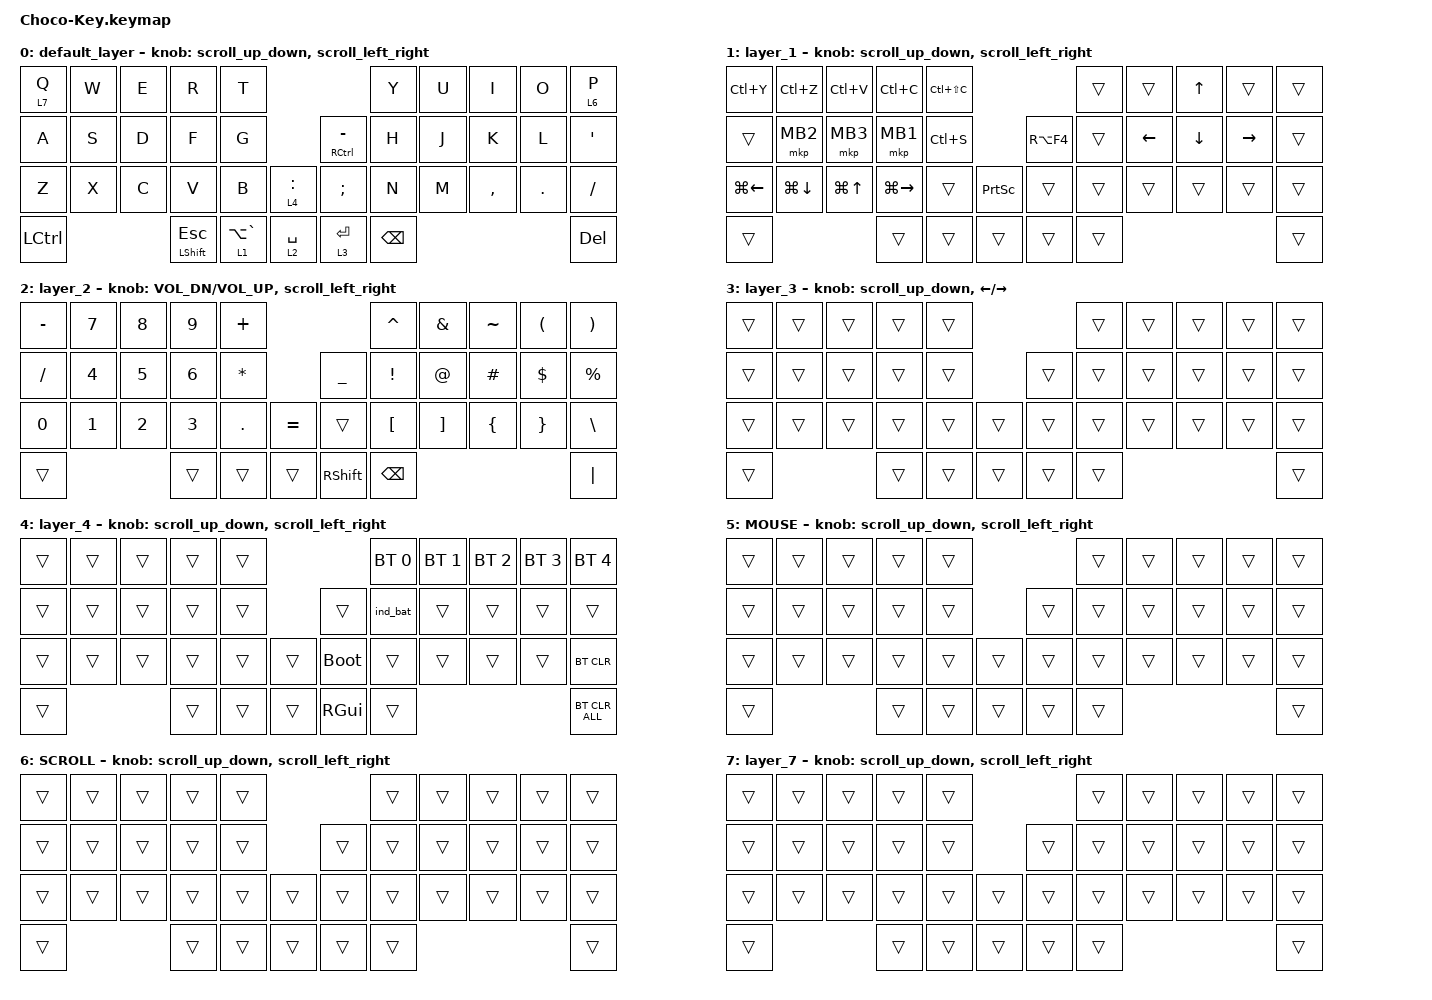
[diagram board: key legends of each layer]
#include <behaviors.dtsi>
#include <dt-bindings/zmk/bt.h>
#include <dt-bindings/zmk/keys.h>
#include <dt-bindings/zmk/pointing.h>
#include <behaviors/rgbled_widget.dtsi>

#define ZMK_POINTING_DEFAULT_SCRL_VAL 100
#define MOUSE 5
#define SCROLL 6

&mt {
    flavor = "balanced";
    quick-tap-ms = <0>;
};

&trackball {
    gesture_7 {
        layers = <7>;
        bindings =
            <&kp LG(RIGHT_ARROW)>,
            <&kp LG(LEFT_ARROW)>,
            <&kp LG(UP_ARROW)>,
            <&kp LG(DOWN_ARROW)>;
        tick = <10>;
        wait-ms = <5>;
        tap-ms = <5>;
    };
};


/ {
    combos { compatible = "zmk,combos"; };

    macros {
        to_layer_0: to_layer_0 {
            compatible = "zmk,behavior-macro-one-param";
            #binding-cells = <1>;
            bindings = <&to 0 &macro_param_1to1 &kp MACRO_PLACEHOLDER>;
            label = "TO_LAYER_0";
        };
    };

    behaviors {
        lt_to_layer_0: lt_to_layer_0 {
            compatible = "zmk,behavior-hold-tap";
            label = "LAYER_TAP_TO_0";
            bindings = <&mo>, <&to_layer_0>;

            #binding-cells = <2>;
            tapping-term-ms = <200>;
        };

        scroll_up_down: behavior_sensor_rotate_mouse_wheel_up_down {
            compatible = "zmk,behavior-sensor-rotate";
            #sensor-binding-cells = <0>;
            bindings = <&msc SCRL_UP>, <&msc SCRL_DOWN>;

            tap-ms = <20>;
        };

        scroll_left_right: behavior_sensor_rotate_mouse_wheel_left_right {
            compatible = "zmk,behavior-sensor-rotate";
            #sensor-binding-cells = <0>;
            bindings = <&msc SCRL_RIGHT>, <&msc SCRL_LEFT>;

            tap-ms = <20>;
        };  
    };

    keymap {
        compatible = "zmk,keymap";

        default_layer {
            bindings = <
&lt 7 Q    &kp W  &kp E  &kp R                  &kp T                                            &kp Y          &kp U  &kp I      &kp O    &lt 6 P
&kp A      &kp S  &kp D  &kp F                  &kp G                           &mt RCTRL MINUS  &kp H          &kp J  &kp K      &kp L    &kp SQT
&kp Z      &kp X  &kp C  &kp V                  &kp B            &lt 4 COLON    &kp SEMICOLON    &kp N          &kp M  &kp COMMA  &kp DOT  &kp SLASH
&kp LCTRL                &mt LEFT_SHIFT ESCAPE  &lt 1 LA(GRAVE)  &lt 2 SPACE    &lt 3 ENTER      &kp BACKSPACE                             &kp DEL
            >;

                sensor-bindings = <&scroll_up_down>, <&scroll_left_right>;
        };

        layer_1 {
            bindings = <
&kp LC(Y)           &kp LC(Z)           &kp LC(V)         &kp LC(C)            &kp LC(LS(C))                                 &trans  &trans          &kp UP_ARROW    &trans           &trans
&trans              &mkp MB2            &mkp MB3          &mkp MB1             &kp LC(S)                         &kp RA(F4)  &trans  &kp LEFT_ARROW  &kp DOWN_ARROW  &kp RIGHT_ARROW  &trans
&kp LG(LEFT_ARROW)  &kp LG(DOWN_ARROW)  &kp LG(UP_ARROW)  &kp LG(RIGHT_ARROW)  &trans         &kp PRINTSCREEN    &trans      &trans  &trans          &trans          &trans           &trans
&trans                                                    &trans               &trans         &trans             &trans      &trans                                                   &trans
            >;

            sensor-bindings = <&scroll_up_down>, <&scroll_left_right>;
        };

        layer_2 {
            bindings = <
&kp MINUS     &kp NUMBER_7  &kp NUMBER_8  &kp NUMBER_9  &kp PLUS                                    &kp CARET         &kp AMPERSAND      &kp TILDE       &kp LEFT_PARENTHESIS  &kp RIGHT_PARENTHESIS
&kp SLASH     &kp NUMBER_4  &kp NUMBER_5  &kp NUMBER_6  &kp ASTERISK               &kp UNDERSCORE   &kp EXCLAMATION   &kp AT_SIGN        &kp HASH        &kp DOLLAR            &kp PERCENT
&kp NUMBER_0  &kp NUMBER_1  &kp NUMBER_2  &kp NUMBER_3  &kp PERIOD    &kp EQUAL    &trans           &kp LEFT_BRACKET  &kp RIGHT_BRACKET  &kp LEFT_BRACE  &kp RIGHT_BRACE       &kp BACKSLASH
&trans                                    &trans        &trans        &trans       &kp RIGHT_SHIFT  &kp BACKSPACE                                                              &kp PIPE
            >;

            sensor-bindings = <&inc_dec_kp C_VOL_DN C_VOL_UP>, <&scroll_left_right>;
        };

        layer_3 {
            bindings = <
&trans  &trans  &trans  &trans  &trans                     &trans  &trans  &trans  &trans  &trans
&trans  &trans  &trans  &trans  &trans             &trans  &trans  &trans  &trans  &trans  &trans
&trans  &trans  &trans  &trans  &trans   &trans    &trans  &trans  &trans  &trans  &trans  &trans
&trans                  &trans  &trans   &trans    &trans  &trans                          &trans
            >;

            sensor-bindings = <&scroll_up_down>, <&inc_dec_kp LEFT RIGHT>;
        };

        layer_4 {
            bindings = <
&trans  &trans  &trans  &trans  &trans                           &bt BT_SEL 0  &bt BT_SEL 1  &bt BT_SEL 2  &bt BT_SEL 3  &bt BT_SEL 4
&trans  &trans  &trans  &trans  &trans            &trans         &ind_bat      &trans        &trans        &trans        &trans
&trans  &trans  &trans  &trans  &trans  &trans    &bootloader    &trans        &trans        &trans        &trans        &bt BT_CLR
&trans                  &trans  &trans  &trans    &kp RIGHT_GUI  &trans                                                  &bt BT_CLR_ALL
            >;

            sensor-bindings = <&scroll_up_down>, <&scroll_left_right>;
        };

        MOUSE {
            bindings = <
&trans  &trans  &trans  &trans  &trans                    &trans  &trans  &trans  &trans  &trans
&trans  &trans  &trans  &trans  &trans            &trans  &trans  &trans  &trans  &trans  &trans
&trans  &trans  &trans  &trans  &trans  &trans    &trans  &trans  &trans  &trans  &trans  &trans
&trans                  &trans  &trans  &trans    &trans  &trans                          &trans
            >;

            sensor-bindings = <&scroll_up_down>, <&scroll_left_right>;
        };

        SCROLL {
            bindings = <
&trans  &trans  &trans  &trans  &trans                    &trans  &trans  &trans  &trans  &trans
&trans  &trans  &trans  &trans  &trans            &trans  &trans  &trans  &trans  &trans  &trans
&trans  &trans  &trans  &trans  &trans  &trans    &trans  &trans  &trans  &trans  &trans  &trans
&trans                  &trans  &trans  &trans    &trans  &trans                          &trans
            >;

            sensor-bindings = <&scroll_up_down>, <&scroll_left_right>;
        };

        layer_7 {
            bindings = <
&trans  &trans  &trans  &trans  &trans                    &trans  &trans  &trans  &trans  &trans
&trans  &trans  &trans  &trans  &trans            &trans  &trans  &trans  &trans  &trans  &trans
&trans  &trans  &trans  &trans  &trans  &trans    &trans  &trans  &trans  &trans  &trans  &trans
&trans                  &trans  &trans  &trans    &trans  &trans                          &trans
            >;

            sensor-bindings = <&scroll_up_down>, <&scroll_left_right>;
        };
    };
};
